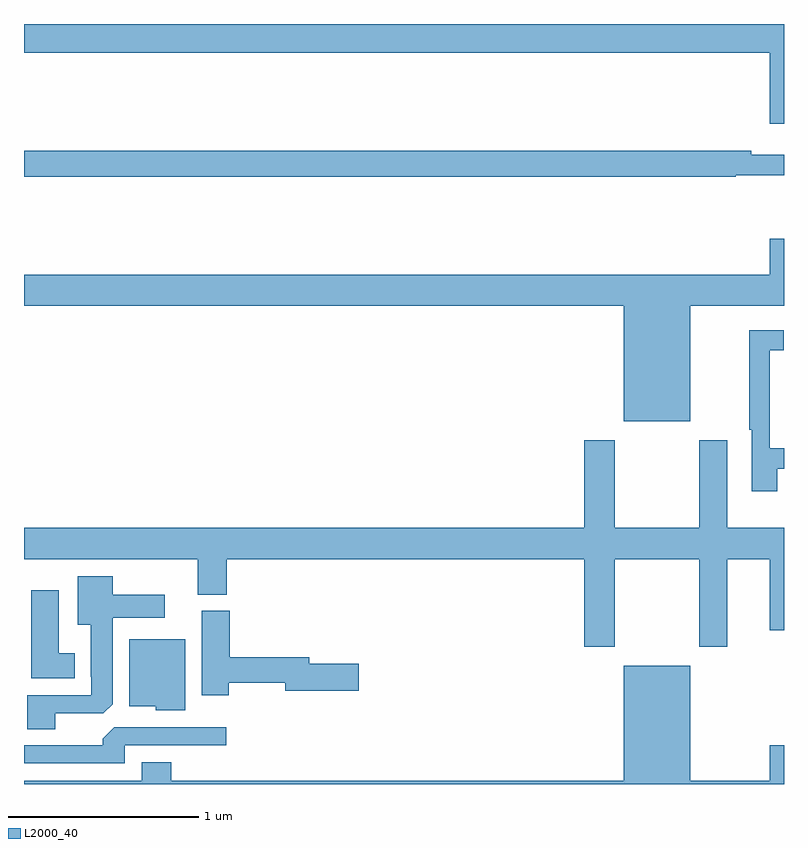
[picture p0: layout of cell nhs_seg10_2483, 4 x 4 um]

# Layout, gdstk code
import gdstk
lib = gdstk.Library(unit=1e-6, precision=1e-09)
def P(c, l, *ps):  # polygons
    for p in ps: c.add(gdstk.Polygon(p, *l))
L2000_40 = (2000, 40)

nhs_seg10_2483 = lib.new_cell('nhs_seg10_2483')
P(nhs_seg10_2483, L2000_40, [(249,1268.5),(245,1268.5),(245,1268.348),(248.924,1268.348),(248.924,1267.974),(249,1267.974)],
  [(248.745,1267.704),(249,1267.704),(249,1267.813),(248.828,1267.813),(248.828,1267.832),(245,1267.832),(245,1267.696),(248.745,1267.696)],
  [(248.506,1267.016),(249,1267.016),(249,1267.369),(248.924,1267.369),(248.924,1267.18),(245,1267.18),(245,1267.016),(248.156,1267.016),(248.156,1266.41),(248.506,1266.41)],
  [(248.965,1266.159),(249,1266.159),(249,1266.267),(248.925,1266.267),(248.925,1266.783),(248.998,1266.783),(248.998,1266.889),(248.817,1266.889),(248.817,1266.364),(248.829,1266.364),(248.829,1266.042),(248.965,1266.042)],
  [(248.109,1265.684),(248.554,1265.684),(248.554,1265.223),(248.701,1265.223),(248.701,1265.684),(248.924,1265.684),(248.924,1265.31),(249,1265.31),(249,1265.848),(248.701,1265.848),(248.701,1266.31),(248.554,1266.31),(248.554,1265.848),(248.109,1265.848),(248.109,1266.31),(247.949,1266.31),(247.949,1265.848),(245,1265.848),(245,1265.684),(245.915,1265.684),(245.915,1265.497),(246.068,1265.497),(246.068,1265.684),(247.949,1265.684),(247.949,1265.223),(248.109,1265.223)],
  [(245.164,1264.872),(245.418,1264.872),(245.467,1264.921),(245.467,1265.375),(245.74,1265.375),(245.74,1265.497),(245.467,1265.497),(245.467,1265.593),(245.282,1265.593),(245.282,1265.339),(245.351,1265.339),(245.351,1265.065),(245.355,1265.065),(245.355,1264.968),(245.017,1264.968),(245.017,1264.789),(245.164,1264.789)],
  [(245.266,1265.188),(245.182,1265.188),(245.182,1265.521),(245.039,1265.521),(245.039,1265.057),(245.266,1265.057)],
  [(246.078,1265.032),(246.374,1265.032),(246.374,1264.99),(246.763,1264.99),(246.763,1265.132),(246.502,1265.132),(246.502,1265.168),(246.083,1265.168),(246.083,1265.412),(245.936,1265.412),(245.936,1264.968),(246.078,1264.968)],
  [(245.848,1265.263),(245.555,1265.263),(245.555,1264.91),(245.694,1264.91),(245.694,1264.889),(245.848,1264.889)],
  [(249,1264.705),(248.924,1264.705),(248.924,1264.516),(248.506,1264.516),(248.506,1265.122),(248.156,1265.122),(248.156,1264.516),(245.774,1264.516),(245.774,1264.615),(245.621,1264.615),(245.621,1264.516),(245,1264.516),(245,1264.5),(249,1264.5)],
  [(245.529,1264.704),(246.064,1264.704),(246.064,1264.8),(245.475,1264.8),(245.414,1264.738),(245.414,1264.704),(245,1264.704),(245,1264.608),(245.529,1264.608)])

lib.write_gds('nhs_seg10_2483.gds')
